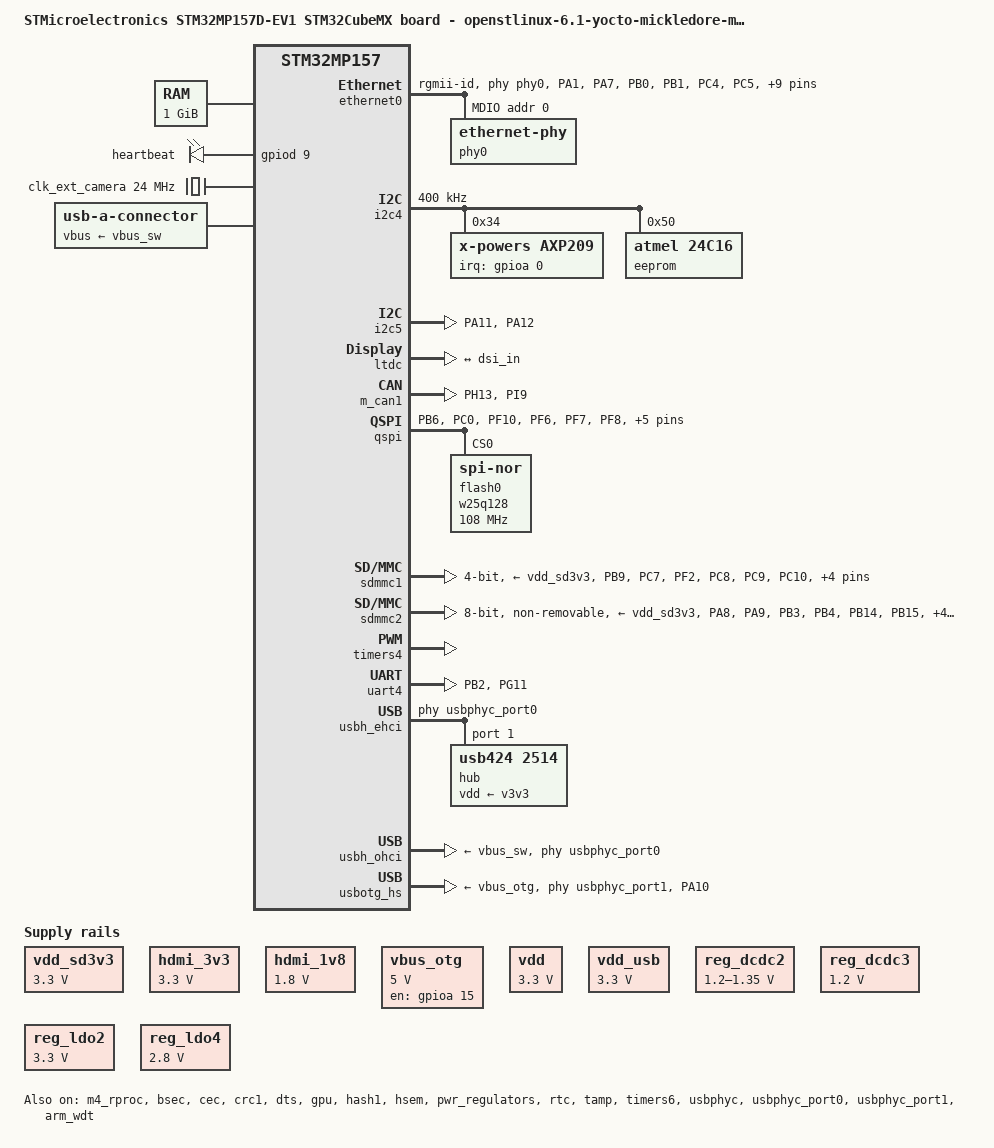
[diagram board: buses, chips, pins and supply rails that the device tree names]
// SPDX-License-Identifier: (GPL-2.0-or-later OR BSD-3-Clause)
/*
 * Copyright (C) 2024, STMicroelectronics - All Rights Reserved
 * Author: STM32CubeMX code generation for STMicroelectronics.
 */

/* For more information on Device Tree configuration, please refer to
 * https://wiki.st.com/stm32mpu/wiki/Category:Device_tree_configuration
 */

/dts-v1/;

#include <dt-bindings/pinctrl/stm32-pinfunc.h>
#include "stm32mp157.dtsi"
#include "stm32mp15xd.dtsi"
#include "stm32mp15xxaa-pinctrl.dtsi"
#include "stm32mp15-m4-srm.dtsi"

/* USER CODE BEGIN includes */
#include "stm32mp157a-ed1-scmi.dtsi"
#include <dt-bindings/gpio/gpio.h>
#include <dt-bindings/mfd/st,stpmic1.h>
#include "stm32mp157a-ev1-scmi.dtsi"
#include <dt-bindings/input/input.h>
/* USER CODE END includes */

/ {
	model = "STMicroelectronics STM32MP157D-EV1 STM32CubeMX board - openstlinux-6.1-yocto-mickledore-mpu-v24.06.26";
	compatible = "st,stm32mp157d-olimex-mx", "st,stm32mp157d-ev1", "st,stm32mp157";

	memory@c0000000 {
		device_type = "memory";
		reg = <0xc0000000 0x40000000>;

		/* USER CODE BEGIN memory */
		/* USER CODE END memory */
	};

	reserved-memory {
		#address-cells = <1>;
		#size-cells = <1>;
		ranges;

		/* USER CODE BEGIN reserved-memory */

		mcuram2:mcuram2@10000000{
			compatible = "shared-dma-pool";
			reg = <0x10000000 0x40000>;
			no-map;
		};

		vdev0vring0:vdev0vring0@10040000{
			compatible = "shared-dma-pool";
			reg = <0x10040000 0x1000>;
			no-map;
		};

		vdev0vring1:vdev0vring1@10041000{
			compatible = "shared-dma-pool";
			reg = <0x10041000 0x1000>;
			no-map;
		};

		vdev0buffer:vdev0buffer@10042000{
			compatible = "shared-dma-pool";
			reg = <0x10042000 0x4000>;
			no-map;
		};

		mcu_rsc_table:mcu-rsc-table@10048000{
			compatible = "shared-dma-pool";
			reg = <0x10048000 0x8000>;
			no-map;
		};

		mcuram:mcuram@30000000{
			compatible = "shared-dma-pool";
			reg = <0x30000000 0x40000>;
			no-map;
		};

		retram:retram@38000000{
			compatible = "shared-dma-pool";
			reg = <0x38000000 0x10000>;
			no-map;
		};

		gpu_reserved:gpu@e8000000{
			reg = <0xe8000000 0x8000000>;
			no-map;
		};

		linux,cma{
			compatible = "shared-dma-pool";
			reusable;
			size = <0x8000000>;
			alignment = <0x2000>;
			linux,cma-default;
		};
		/* USER CODE END reserved-memory */
	};

	/* USER CODE BEGIN root */

	aliases{
		serial0 = &uart4;
		serial1 = &usart3;
		serial4 = &usart1;
		ethernet0 = &ethernet0;
	};

	chosen{
		stdout-path = "serial0:115200n8";
		#address-cells = <1>;
		#size-cells = <1>;
		ranges;
	};

	led{
		compatible = "gpio-leds";

		led-blue{
			label = "heartbeat";
			gpios = <&gpiod 9 GPIO_ACTIVE_HIGH>;
			linux,default-trigger = "heartbeat";
			default-state = "off";
		};
	};

	vdd_sd3v3: regulator_vdd {
		compatible = "regulator-fixed";
		regulator-name = "vdd-sd";
		regulator-min-microvolt = <3300000>;
		regulator-max-microvolt = <3300000>;
		enable-active-high;
		regulator-always-on;
		regulator-initial-mode = <0>;
		//regulator-over-current-protection;
	};

	hdmi_3v3: regulator_hdmi {
		compatible = "regulator-fixed";
		regulator-name = "vdd-hdmi";
		regulator-min-microvolt = <3300000>;
		regulator-max-microvolt = <3300000>;
		enable-active-high;
		regulator-always-on;
		regulator-initial-mode = <0>;
		//regulator-over-current-protection;
	};

	hdmi_1v8: regulator_hdmi1v8 {
		compatible = "regulator-fixed";
		regulator-name = "vdd-hdmi1v8";
		regulator-min-microvolt = <1800000>;
		regulator-max-microvolt = <1800000>;
		enable-active-high;
		regulator-always-on;
		regulator-initial-mode = <0>;
		//regulator-over-current-protection;
	};

/*
	hdmi_1v2: regulator_hdmi1v2 {
		compatible = "regulator-fixed";
		regulator-name = "vdd-hdmi1v2";
		regulator-min-microvolt = <1200000>;
		regulator-max-microvolt = <1200000>;
		enable-active-high;
		regulator-always-on;
		regulator-initial-mode = <0>;
		//regulator-over-current-protection;
	};
*/

	vbus_otg: regulator_otg {
		compatible = "regulator-fixed";
		regulator-name = "vdd-otg";
		regulator-min-microvolt = <5000000>;
		regulator-max-microvolt = <5000000>;
		gpios = <&gpioa 15 GPIO_ACTIVE_LOW>;
		enable-active-high;
		regulator-initial-mode = <0>;
		//regulator-over-current-protection;
	};

	vdd: vdd {
		compatible = "regulator-fixed";
		regulator-name = "vdd";
		regulator-min-microvolt = <3300000>;
		regulator-max-microvolt = <3300000>;
		enable-active-high;
		regulator-always-on;
		regulator-initial-mode = <0>;
		//regulator-over-current-protection;
	};

	vdd_usb: vdd-usb {
		compatible = "regulator-fixed";
		regulator-name = "vdd-usb";
		regulator-min-microvolt = <3300000>;
		regulator-max-microvolt = <3300000>;
		enable-active-high;
		regulator-always-on;
		regulator-initial-mode = <0>;
		//regulator-over-current-protection;
	};

	/* USER CODE END root */

	clocks{

		/* USER CODE BEGIN clocks */

		clk_ext_camera:clk-ext-camera{
			#clock-cells = <0>;
			compatible = "fixed-clock";
			clock-frequency = <24000000>;
		};
		/* USER CODE END clocks */
	};

}; /*root*/

&pinctrl {
	eth1_pins_mx: eth1_mx-0 {
		pins1 {
			pinmux = <STM32_PINMUX('A', 1, AF11)>, /* ETH1_RX_CLK */
					 <STM32_PINMUX('A', 7, AF11)>, /* ETH1_RX_CTL */
					 <STM32_PINMUX('B', 0, AF11)>, /* ETH1_RXD2 */
					 <STM32_PINMUX('B', 1, AF11)>, /* ETH1_RXD3 */
					 <STM32_PINMUX('C', 4, AF11)>, /* ETH1_RXD0 */
					 <STM32_PINMUX('C', 5, AF11)>; /* ETH1_RXD1 */
			bias-disable;
		};
		pins2 {
			pinmux = <STM32_PINMUX('A', 2, AF11)>; /* ETH1_MDIO */
			bias-disable;
			drive-push-pull;
			slew-rate = <0>;
		};
		pins3 {
			pinmux = <STM32_PINMUX('B', 11, AF11)>, /* ETH1_TX_CTL */
					 <STM32_PINMUX('C', 1, AF11)>, /* ETH1_MDC */
					 <STM32_PINMUX('C', 2, AF11)>, /* ETH1_TXD2 */
					 <STM32_PINMUX('E', 2, AF11)>, /* ETH1_TXD3 */
					 <STM32_PINMUX('G', 4, AF11)>, /* ETH1_GTX_CLK */
					 <STM32_PINMUX('G', 5, AF11)>, /* ETH1_CLK125 */
					 <STM32_PINMUX('G', 13, AF11)>, /* ETH1_TXD0 */
					 <STM32_PINMUX('G', 14, AF11)>; /* ETH1_TXD1 */
			bias-disable;
			drive-push-pull;
			slew-rate = <2>;
		};
	};

	eth1_sleep_pins_mx: eth1_sleep_mx-0 {
		pins {
			pinmux = <STM32_PINMUX('A', 1, ANALOG)>, /* ETH1_RX_CLK */
					 <STM32_PINMUX('A', 2, ANALOG)>, /* ETH1_MDIO */
					 <STM32_PINMUX('A', 7, ANALOG)>, /* ETH1_RX_CTL */
					 <STM32_PINMUX('B', 0, ANALOG)>, /* ETH1_RXD2 */
					 <STM32_PINMUX('B', 1, ANALOG)>, /* ETH1_RXD3 */
					 <STM32_PINMUX('B', 11, ANALOG)>, /* ETH1_TX_CTL */
					 <STM32_PINMUX('C', 1, ANALOG)>, /* ETH1_MDC */
					 <STM32_PINMUX('C', 2, ANALOG)>, /* ETH1_TXD2 */
					 <STM32_PINMUX('C', 4, ANALOG)>, /* ETH1_RXD0 */
					 <STM32_PINMUX('C', 5, ANALOG)>, /* ETH1_RXD1 */
					 <STM32_PINMUX('E', 2, ANALOG)>, /* ETH1_TXD3 */
					 <STM32_PINMUX('G', 4, ANALOG)>, /* ETH1_GTX_CLK */
					 <STM32_PINMUX('G', 5, ANALOG)>, /* ETH1_CLK125 */
					 <STM32_PINMUX('G', 13, ANALOG)>, /* ETH1_TXD0 */
					 <STM32_PINMUX('G', 14, ANALOG)>; /* ETH1_TXD1 */
		};
	};

	fdcan1_pins_mx: fdcan1_mx-0 {
		pins1 {
			pinmux = <STM32_PINMUX('H', 13, AF9)>; /* FDCAN1_TX */
			bias-disable;
			drive-push-pull;
			slew-rate = <1>;
		};
		pins2 {
			pinmux = <STM32_PINMUX('I', 9, AF9)>; /* FDCAN1_RX */
			bias-disable;
		};
	};

	fdcan1_sleep_pins_mx: fdcan1_sleep_mx-0 {
		pins {
			pinmux = <STM32_PINMUX('H', 13, ANALOG)>, /* FDCAN1_TX */
					 <STM32_PINMUX('I', 9, ANALOG)>; /* FDCAN1_RX */
		};
	};

	hdmi_cec_pins_mx: hdmi_cec_mx-0 {
		pins {
			pinmux = <STM32_PINMUX('A', 15, AF4)>; /* CEC */
			bias-disable;
			drive-open-drain;
			slew-rate = <0>;
		};
	};

	hdmi_cec_sleep_pins_mx: hdmi_cec_sleep_mx-0 {
		pins {
			pinmux = <STM32_PINMUX('A', 15, ANALOG)>; /* CEC */
		};
	};

	i2c5_pins_mx: i2c5_mx-0 {
		pins {
			pinmux = <STM32_PINMUX('A', 11, AF4)>, /* I2C5_SCL */
					 <STM32_PINMUX('A', 12, AF4)>; /* I2C5_SDA */
			bias-disable;
			drive-open-drain;
			slew-rate = <0>;
		};
	};

	i2c5_sleep_pins_mx: i2c5_sleep_mx-0 {
		pins {
			pinmux = <STM32_PINMUX('A', 11, ANALOG)>, /* I2C5_SCL */
					 <STM32_PINMUX('A', 12, ANALOG)>; /* I2C5_SDA */
		};
	};

	quadspi_pins_mx: quadspi_mx-0 {
		pins1 {
			pinmux = <STM32_PINMUX('B', 6, AF10)>, /* QUADSPI_BK1_NCS */
					 <STM32_PINMUX('C', 0, AF10)>; /* QUADSPI_BK2_NCS */
			bias-pull-up;
			drive-push-pull;
			slew-rate = <1>;
		};
		pins2 {
			pinmux = <STM32_PINMUX('F', 10, AF9)>; /* QUADSPI_CLK */
			bias-disable;
			drive-push-pull;
			slew-rate = <3>;
		};
		pins3 {
			pinmux = <STM32_PINMUX('F', 6, AF9)>, /* QUADSPI_BK1_IO3 */
					 <STM32_PINMUX('F', 7, AF9)>, /* QUADSPI_BK1_IO2 */
					 <STM32_PINMUX('F', 8, AF10)>, /* QUADSPI_BK1_IO0 */
					 <STM32_PINMUX('F', 9, AF10)>, /* QUADSPI_BK1_IO1 */
					 <STM32_PINMUX('G', 7, AF11)>, /* QUADSPI_BK2_IO3 */
					 <STM32_PINMUX('G', 10, AF11)>, /* QUADSPI_BK2_IO2 */
					 <STM32_PINMUX('H', 2, AF9)>, /* QUADSPI_BK2_IO0 */
					 <STM32_PINMUX('H', 3, AF9)>; /* QUADSPI_BK2_IO1 */
			bias-disable;
			drive-push-pull;
			slew-rate = <1>;
		};
	};

	quadspi_sleep_pins_mx: quadspi_sleep_mx-0 {
		pins {
			pinmux = <STM32_PINMUX('B', 6, ANALOG)>, /* QUADSPI_BK1_NCS */
					 <STM32_PINMUX('C', 0, ANALOG)>, /* QUADSPI_BK2_NCS */
					 <STM32_PINMUX('F', 6, ANALOG)>, /* QUADSPI_BK1_IO3 */
					 <STM32_PINMUX('F', 7, ANALOG)>, /* QUADSPI_BK1_IO2 */
					 <STM32_PINMUX('F', 8, ANALOG)>, /* QUADSPI_BK1_IO0 */
					 <STM32_PINMUX('F', 9, ANALOG)>, /* QUADSPI_BK1_IO1 */
					 <STM32_PINMUX('F', 10, ANALOG)>, /* QUADSPI_CLK */
					 <STM32_PINMUX('G', 7, ANALOG)>, /* QUADSPI_BK2_IO3 */
					 <STM32_PINMUX('G', 10, ANALOG)>, /* QUADSPI_BK2_IO2 */
					 <STM32_PINMUX('H', 2, ANALOG)>, /* QUADSPI_BK2_IO0 */
					 <STM32_PINMUX('H', 3, ANALOG)>; /* QUADSPI_BK2_IO1 */
		};
	};

	sdmmc1_pins_mx: sdmmc1_mx-0 {
		pins1 {
			pinmux = <STM32_PINMUX('B', 9, AF11)>, /* SDMMC1_CDIR */
					 <STM32_PINMUX('C', 7, AF8)>, /* SDMMC1_D123DIR */
					 <STM32_PINMUX('F', 2, AF11)>; /* SDMMC1_D0DIR */
			bias-pull-up;
			drive-push-pull;
			slew-rate = <1>;
		};
		pins2 {
			pinmux = <STM32_PINMUX('C', 8, AF12)>, /* SDMMC1_D0 */
					 <STM32_PINMUX('C', 9, AF12)>, /* SDMMC1_D1 */
					 <STM32_PINMUX('C', 10, AF12)>, /* SDMMC1_D2 */
					 <STM32_PINMUX('C', 11, AF12)>, /* SDMMC1_D3 */
					 <STM32_PINMUX('D', 2, AF12)>; /* SDMMC1_CMD */
			bias-disable;
			drive-push-pull;
			slew-rate = <1>;
		};
		pins3 {
			pinmux = <STM32_PINMUX('C', 12, AF12)>; /* SDMMC1_CK */
			bias-disable;
			drive-push-pull;
			slew-rate = <2>;
		};
		pins4 {
			pinmux = <STM32_PINMUX('E', 4, AF8)>; /* SDMMC1_CKIN */
			bias-pull-up;
		};
	};

	sdmmc1_opendrain_pins_mx: sdmmc1_opendrain_mx-0 {
		pins1 {
			pinmux = <STM32_PINMUX('B', 9, AF11)>, /* SDMMC1_CDIR */
					 <STM32_PINMUX('C', 7, AF8)>, /* SDMMC1_D123DIR */
					 <STM32_PINMUX('F', 2, AF11)>; /* SDMMC1_D0DIR */
			bias-pull-up;
			drive-push-pull;
			slew-rate = <1>;
		};
		pins2 {
			pinmux = <STM32_PINMUX('C', 8, AF12)>, /* SDMMC1_D0 */
					 <STM32_PINMUX('C', 9, AF12)>, /* SDMMC1_D1 */
					 <STM32_PINMUX('C', 10, AF12)>, /* SDMMC1_D2 */
					 <STM32_PINMUX('C', 11, AF12)>; /* SDMMC1_D3 */
			bias-disable;
			drive-push-pull;
			slew-rate = <1>;
		};
		pins3 {
			pinmux = <STM32_PINMUX('C', 12, AF12)>; /* SDMMC1_CK */
			bias-disable;
			drive-push-pull;
			slew-rate = <2>;
		};
		pins4 {
			pinmux = <STM32_PINMUX('D', 2, AF12)>; /* SDMMC1_CMD */
			bias-disable;
			drive-open-drain;
			slew-rate = <1>;
		};
		pins5 {
			pinmux = <STM32_PINMUX('E', 4, AF8)>; /* SDMMC1_CKIN */
			bias-pull-up;
		};
	};

	sdmmc1_sleep_pins_mx: sdmmc1_sleep_mx-0 {
		pins {
			pinmux = <STM32_PINMUX('B', 9, ANALOG)>, /* SDMMC1_CDIR */
					 <STM32_PINMUX('C', 7, ANALOG)>, /* SDMMC1_D123DIR */
					 <STM32_PINMUX('C', 8, ANALOG)>, /* SDMMC1_D0 */
					 <STM32_PINMUX('C', 9, ANALOG)>, /* SDMMC1_D1 */
					 <STM32_PINMUX('C', 10, ANALOG)>, /* SDMMC1_D2 */
					 <STM32_PINMUX('C', 11, ANALOG)>, /* SDMMC1_D3 */
					 <STM32_PINMUX('C', 12, ANALOG)>, /* SDMMC1_CK */
					 <STM32_PINMUX('D', 2, ANALOG)>, /* SDMMC1_CMD */
					 <STM32_PINMUX('E', 4, ANALOG)>, /* SDMMC1_CKIN */
					 <STM32_PINMUX('F', 2, ANALOG)>; /* SDMMC1_D0DIR */
		};
	};

	sdmmc2_pins_mx: sdmmc2_mx-0 {
		pins1 {
			pinmux = <STM32_PINMUX('A', 8, AF9)>, /* SDMMC2_D4 */
					 <STM32_PINMUX('A', 9, AF10)>, /* SDMMC2_D5 */
					 <STM32_PINMUX('B', 3, AF9)>, /* SDMMC2_D2 */
					 <STM32_PINMUX('B', 4, AF9)>, /* SDMMC2_D3 */
					 <STM32_PINMUX('B', 14, AF9)>, /* SDMMC2_D0 */
					 <STM32_PINMUX('B', 15, AF9)>, /* SDMMC2_D1 */
					 <STM32_PINMUX('D', 3, AF9)>, /* SDMMC2_D7 */
					 <STM32_PINMUX('E', 5, AF9)>, /* SDMMC2_D6 */
					 <STM32_PINMUX('G', 6, AF10)>; /* SDMMC2_CMD */
			bias-pull-up;
			drive-push-pull;
			slew-rate = <1>;
		};
		pins2 {
			pinmux = <STM32_PINMUX('E', 3, AF9)>; /* SDMMC2_CK */
			bias-pull-up;
			drive-push-pull;
			slew-rate = <2>;
		};
	};

	sdmmc2_opendrain_pins_mx: sdmmc2_opendrain_mx-0 {
		pins1 {
			pinmux = <STM32_PINMUX('A', 8, AF9)>, /* SDMMC2_D4 */
					 <STM32_PINMUX('A', 9, AF10)>, /* SDMMC2_D5 */
					 <STM32_PINMUX('B', 3, AF9)>, /* SDMMC2_D2 */
					 <STM32_PINMUX('B', 4, AF9)>, /* SDMMC2_D3 */
					 <STM32_PINMUX('B', 14, AF9)>, /* SDMMC2_D0 */
					 <STM32_PINMUX('B', 15, AF9)>, /* SDMMC2_D1 */
					 <STM32_PINMUX('D', 3, AF9)>, /* SDMMC2_D7 */
					 <STM32_PINMUX('E', 5, AF9)>; /* SDMMC2_D6 */
			bias-pull-up;
			drive-push-pull;
			slew-rate = <1>;
		};
		pins2 {
			pinmux = <STM32_PINMUX('E', 3, AF9)>; /* SDMMC2_CK */
			bias-pull-up;
			drive-push-pull;
			slew-rate = <2>;
		};
		pins3 {
			pinmux = <STM32_PINMUX('G', 6, AF10)>; /* SDMMC2_CMD */
			bias-pull-up;
			drive-open-drain;
			slew-rate = <1>;
		};
	};

	sdmmc2_sleep_pins_mx: sdmmc2_sleep_mx-0 {
		pins {
			pinmux = <STM32_PINMUX('A', 8, ANALOG)>, /* SDMMC2_D4 */
					 <STM32_PINMUX('A', 9, ANALOG)>, /* SDMMC2_D5 */
					 <STM32_PINMUX('B', 3, ANALOG)>, /* SDMMC2_D2 */
					 <STM32_PINMUX('B', 4, ANALOG)>, /* SDMMC2_D3 */
					 <STM32_PINMUX('B', 14, ANALOG)>, /* SDMMC2_D0 */
					 <STM32_PINMUX('B', 15, ANALOG)>, /* SDMMC2_D1 */
					 <STM32_PINMUX('D', 3, ANALOG)>, /* SDMMC2_D7 */
					 <STM32_PINMUX('E', 3, ANALOG)>, /* SDMMC2_CK */
					 <STM32_PINMUX('E', 5, ANALOG)>, /* SDMMC2_D6 */
					 <STM32_PINMUX('G', 6, ANALOG)>; /* SDMMC2_CMD */
		};
	};

	uart4_pins_mx: uart4_mx-0 {
		pins1 {
			pinmux = <STM32_PINMUX('B', 2, AF8)>; /* UART4_RX */
			bias-disable;
		};
		pins2 {
			pinmux = <STM32_PINMUX('G', 11, AF6)>; /* UART4_TX */
			bias-disable;
			drive-push-pull;
			slew-rate = <0>;
		};
	};

	uart4_idle_pins_mx: uart4_idle_mx-0 {
		pins1 {
			pinmux = <STM32_PINMUX('B', 2, AF8)>; /* UART4_RX */
			bias-disable;
		};
		pins2 {
			pinmux = <STM32_PINMUX('G', 11, ANALOG)>; /* UART4_TX */
		};
	};

	uart4_sleep_pins_mx: uart4_sleep_mx-0 {
		pins {
			pinmux = <STM32_PINMUX('B', 2, ANALOG)>, /* UART4_RX */
					 <STM32_PINMUX('G', 11, ANALOG)>; /* UART4_TX */
		};
	};

	usb_otg_hs_pins_mx: usb_otg_hs_mx-0 {
		pins {
			pinmux = <STM32_PINMUX('A', 10, ANALOG)>; /* USB_OTG_HS_ID */
		};
	};

	usb_otg_hs_sleep_pins_mx: usb_otg_hs_sleep_mx-0 {
		pins {
			pinmux = <STM32_PINMUX('A', 10, ANALOG)>; /* USB_OTG_HS_ID */
		};
	};

	/* USER CODE BEGIN pinctrl */
	/* USER CODE END pinctrl */
};

&pinctrl_z {

	i2c4_pins_z_mx: i2c4_mx-0 {
		pins {
			pinmux = <STM32_PINMUX('Z', 4, AF6)>, /* I2C4_SCL */
					 <STM32_PINMUX('Z', 5, AF6)>; /* I2C4_SDA */
			bias-disable;
			drive-open-drain;
			slew-rate = <0>;
		};
	};

	i2c4_sleep_pins_z_mx: i2c4_sleep_mx-0 {
		pins {
			pinmux = <STM32_PINMUX('Z', 4, ANALOG)>, /* I2C4_SCL */
					 <STM32_PINMUX('Z', 5, ANALOG)>; /* I2C4_SDA */
		};
	};

	/* USER CODE BEGIN pinctrl_z */
	/* USER CODE END pinctrl_z */
};

&m4_rproc{
	/*Restriction: "memory-region" property is not managed - please to use User-Section if needed*/
	mboxes = <&ipcc 0>, <&ipcc 1>, <&ipcc 2>;
	mbox-names = "vq0", "vq1", "shutdown";
	status = "okay";

	/* USER CODE BEGIN m4_rproc */
	memory-region = <&retram>, <&mcuram>, <&mcuram2>, <&vdev0vring0>,
			<&vdev0vring1>, <&vdev0buffer>, <&mcu_rsc_table>;
	interrupt-parent = <&exti>;
	interrupts = <68 1>;
	wakeup-source;
	/* USER CODE END m4_rproc */
};

&bsec{
	status = "okay";

	/* USER CODE BEGIN bsec */
	/* USER CODE END bsec */
};

&cec{
	pinctrl-names = "default", "sleep";
	pinctrl-0 = <&hdmi_cec_pins_mx>;
	pinctrl-1 = <&hdmi_cec_sleep_pins_mx>;
	status = "okay";

	/* USER CODE BEGIN cec */
	/* USER CODE END cec */
};

&crc1{
	status = "okay";

	/* USER CODE BEGIN crc1 */
	/* USER CODE END crc1 */
};

&dma1{
	status = "okay";

	/* USER CODE BEGIN dma1 */
	/* USER CODE END dma1 */
};

&dma2{
	status = "okay";

	/* USER CODE BEGIN dma2 */
	/* USER CODE END dma2 */
};

&dmamux1{
	status = "okay";

	dma-masters = <&dma1 &dma2>;
	dma-channels = <16>;

	/* USER CODE BEGIN dmamux1 */
	/* USER CODE END dmamux1 */
};

&dts{
	status = "okay";

	/* USER CODE BEGIN dts */
	/* USER CODE END dts */
};

&ethernet0{
	pinctrl-names = "default", "sleep";
	pinctrl-0 = <&eth1_pins_mx>;
	pinctrl-1 = <&eth1_sleep_pins_mx>;
	status = "okay";

	/* USER CODE BEGIN ethernet0 */
	phy-mode = "rgmii-id";
	max-speed = <1000>;
	phy-handle = <&phy0>;

	mdio0{
		#address-cells = <1>;
		#size-cells = <0>;
		compatible = "snps,dwmac-mdio";

		phy0:ethernet-phy@0{
			reg = <0>;
		};
	};
	/* USER CODE END ethernet0 */
};

&gpu{
	status = "okay";

	/* USER CODE BEGIN gpu */
	contiguous-area = <&gpu_reserved>;
	/* USER CODE END gpu */
};

&hash1{
	status = "okay";

	/* USER CODE BEGIN hash1 */
	/* USER CODE END hash1 */
};

&hsem{
	status = "okay";

	/* USER CODE BEGIN hsem */
	/* USER CODE END hsem */
};

&i2c4{
	pinctrl-names = "default", "sleep";
	pinctrl-0 = <&i2c4_pins_z_mx>;
	pinctrl-1 = <&i2c4_sleep_pins_z_mx>;
	status = "okay";

	/* USER CODE BEGIN i2c4 */
	i2c-scl-rising-time-ns = <185>;
	i2c-scl-falling-time-ns = <20>;
	clock-frequency = <400000>;
	/delete-property/ dmas;
	/delete-property/ dma-names;

	axp209: pmic@34 {
		compatible = "x-powers,axp209";
		reg = <0x34>;
		interrupt-parent = <&gpioa>;
		interrupts = <0 IRQ_TYPE_LEVEL_LOW>;

		interrupt-controller;
		#interrupt-cells = <1>;
	};

	eeprom: eeprom@50 {
		compatible = "atmel,24c16";
		reg = <0x50>;
		pagesize = <16>;
	};
	/* USER CODE END i2c4 */
};

&i2c5{
	pinctrl-names = "default", "sleep";
	pinctrl-0 = <&i2c5_pins_mx>;
	pinctrl-1 = <&i2c5_sleep_pins_mx>;
	status = "okay";

	/* USER CODE BEGIN i2c5 */
	i2c-scl-rising-time-ns = <185>;
	i2c-scl-falling-time-ns = <20>;
	/delete-property/ dmas;
	/delete-property/ dma-names;
	/* USER CODE END i2c5 */
};

&ipcc{
	status = "okay";

	/* USER CODE BEGIN ipcc */
	/* USER CODE END ipcc */
};

&ltdc{
	status = "okay";

	/* USER CODE BEGIN ltdc */

	port{

		ltdc_ep0_out:endpoint{
			remote-endpoint = <&dsi_in>;
		};
	};
	/* USER CODE END ltdc */
};

&m_can1{
	pinctrl-names = "default", "sleep";
	pinctrl-0 = <&fdcan1_pins_mx>;
	pinctrl-1 = <&fdcan1_sleep_pins_mx>;
	status = "okay";

	/* USER CODE BEGIN m_can1 */
	/* USER CODE END m_can1 */
};

&mdma1{
	status = "okay";

	/* USER CODE BEGIN mdma1 */
	/* USER CODE END mdma1 */
};

&pwr_regulators{
	status = "okay";

	/* USER CODE BEGIN pwr_regulators */
	vdd-supply = <&vdd>;
	vdd_3v3_usbfs-supply = <&vdd_usb>;
	/* USER CODE END pwr_regulators */
};


&qspi{
	pinctrl-names = "default", "sleep";
	pinctrl-0 = <&quadspi_pins_mx>;
	pinctrl-1 = <&quadspi_sleep_pins_mx>;
	status = "okay";

	/* USER CODE BEGIN qspi */
	reg = <0x58003000 0x1000>, <0x70000000 0x4000000>;
	#address-cells = <1>;
	#size-cells = <0>;

	flash0: w25q128@0 {
		compatible = "jedec,spi-nor", "winbond,w25q128";
		reg = <0>;
		spi-rx-bus-width = <4>;
		spi-max-frequency = <108000000>;
		#address-cells = <1>;
		#size-cells = <1>;
	};
	/* USER CODE END qspi */
};

&rcc{
	status = "okay";

	/* USER CODE BEGIN rcc */
	/* USER CODE END rcc */
};

&rtc{
	status = "okay";

	/* USER CODE BEGIN rtc */
	/* USER CODE END rtc */
};

&sdmmc1{
	pinctrl-names = "default", "opendrain", "sleep";
	pinctrl-0 = <&sdmmc1_pins_mx>;
	pinctrl-1 = <&sdmmc1_opendrain_pins_mx>;
	pinctrl-2 = <&sdmmc1_sleep_pins_mx>;
	/* USER CODE BEGIN sdmmc1 */
	broken-cd;
	st,neg-edge;
	bus-width = <4>;
	vmmc-supply = <&vdd_sd3v3>;
	vqmmc-supply = <&vdd_sd3v3>;
	status = "okay";
	/* USER CODE END sdmmc1 */
};

&sdmmc2{
	pinctrl-names = "default", "opendrain", "sleep";
	pinctrl-0 = <&sdmmc2_pins_mx>;
	pinctrl-1 = <&sdmmc2_opendrain_pins_mx>;
	pinctrl-2 = <&sdmmc2_sleep_pins_mx>;
	status = "okay";

	/* USER CODE BEGIN sdmmc2 */
	non-removable;
	st,neg-edge;
	bus-width = <8>;
	vmmc-supply = <&vdd_sd3v3>;
	vqmmc-supply = <&vdd_sd3v3>;
	status = "okay";
	/* USER CODE END sdmmc2 */
};

&tamp{
	status = "okay";

	/* USER CODE BEGIN tamp */
	/* USER CODE END tamp */
};

&timers4 {
	status = "okay";

	/delete-property/dmas;
	/delete-property/dma-names;
	pwm4: pwm {
		pinctrl-0 = <&pwm4_pins_b>;
		pinctrl-names = "default";
		status = "okay";
	};

	timer@1 {
		status = "okay";
	};
};

&timers6{
	status = "okay";

	/* USER CODE BEGIN timers6 */
	/delete-property/ dmas;
	/delete-property/ dma-names;

	timer@5{
		status = "okay";
	};
	/* USER CODE END timers6 */
};

&uart4{
	pinctrl-names = "default", "idle", "sleep";
	pinctrl-0 = <&uart4_pins_mx>;
	pinctrl-1 = <&uart4_idle_pins_mx>;
	pinctrl-2 = <&uart4_sleep_pins_mx>;
	status = "okay";

	/* USER CODE BEGIN uart4 */
	/delete-property/ dmas;
	/delete-property/ dma-names;
	/* USER CODE END uart4 */
};

&usbh_ehci{
	status = "okay";

	/* USER CODE BEGIN usbh_ehci */
	phys = <&usbphyc_port0>;
	#address-cells = <1>;
	#size-cells = <0>;

	hub@1{
		compatible = "usb424,2514";
		reg = <1>;
		vdd-supply = <&v3v3>;
	};
	/* USER CODE END usbh_ehci */
};

&usbh_ohci{
	status = "okay";

	/* USER CODE BEGIN usbh_ohci */
	/* USER CODE END usbh_ohci */
};

&usbotg_hs{
	pinctrl-names = "default", "sleep";
	pinctrl-0 = <&usb_otg_hs_pins_mx>;
	pinctrl-1 = <&usb_otg_hs_sleep_pins_mx>;
	status = "okay";

	/* USER CODE BEGIN usbotg_hs */
	vbus-supply = <&vbus_otg>;
	phys = <&usbphyc_port1 0>;
	phy-names = "usb2-phy";
	/* USER CODE END usbotg_hs */
};

&usbphyc{
	status = "okay";

	/* USER CODE BEGIN usbphyc */
	/* USER CODE END usbphyc */
};

&usbphyc_port0{
	status = "okay";

	/* USER CODE BEGIN usbphyc_port0 */
	phy-supply = <&vdd_usb>;
	st,tune-hs-dc-level = <2>;
	st,enable-fs-rftime-tuning;
	st,enable-hs-rftime-reduction;
	st,trim-hs-current = <15>;
	st,trim-hs-impedance = <1>;
	st,tune-squelch-level = <3>;
	st,tune-hs-rx-offset = <2>;
	st,no-lsfs-sc;

	connector{
		compatible = "usb-a-connector";
		vbus-supply = <&vbus_sw>;
	};
	/* USER CODE END usbphyc_port0 */
};

&usbphyc_port1{
	status = "okay";

	/* USER CODE BEGIN usbphyc_port1 */
	phy-supply = <&vdd_usb>;
	st,tune-hs-dc-level = <2>;
	st,enable-fs-rftime-tuning;
	st,enable-hs-rftime-reduction;
	st,trim-hs-current = <15>;
	st,trim-hs-impedance = <1>;
	st,tune-squelch-level = <3>;
	st,tune-hs-rx-offset = <2>;
	st,no-lsfs-sc;
	/* USER CODE END usbphyc_port1 */
};

/* USER CODE BEGIN addons */

#include "axp209.dtsi"

&ac_power_supply {
	status = "okay";
};

&battery_power_supply {
	status = "okay";
};


&reg_dcdc2 {
	regulator-name = "vddcore";
	regulator-min-microvolt = <1200000>;
	regulator-max-microvolt = <1350000>;
	regulator-always-on;
/*
	regulator-initial-mode = <0>;
	regulator-over-current-protection;
*/
};

&reg_dcdc3 {
	regulator-always-on;
	regulator-min-microvolt = <1200000>; //vdd-hdmi
	regulator-max-microvolt = <1200000>;
	regulator-name = "vcc-hdmi";
};

&reg_ldo1 {
	regulator-name = "vdd-rtc";
};

&reg_ldo2 {
	regulator-always-on;
	regulator-min-microvolt = <3300000>;
	regulator-max-microvolt = <3300000>;
	regulator-name = "avcc"; //avcc vcc-flash
};

/*
&reg_ldo3 {
	regulator-always-on;
	regulator-min-microvolt = <1200000>;
	regulator-max-microvolt = <1200000>;
	regulator-name = "vcc-hdmi"; //avcc
};
*/

&reg_ldo4 {
	regulator-always-on;
	regulator-min-microvolt = <2800000>;
	regulator-max-microvolt = <2800000>;
	regulator-name = "28v1"; //avcc
};

&arm_wdt{
	timeout-sec = <32>;
	status = "okay";
};

&cpu0{
	cpu-supply = <&vddcore>;
};

&cpu1{
	cpu-supply = <&vddcore>;
};

&sram4{

	dcmi_pool:dcmi-pool@0{
		reg = <0x0 0x8000>;
		pool;
	};
};

&usbh_ohci {
	phys = <&usbphyc_port0>;
	phy-names = "usb";
	vbus-supply = <&vbus_sw>;
};
/* USER CODE END addons */

